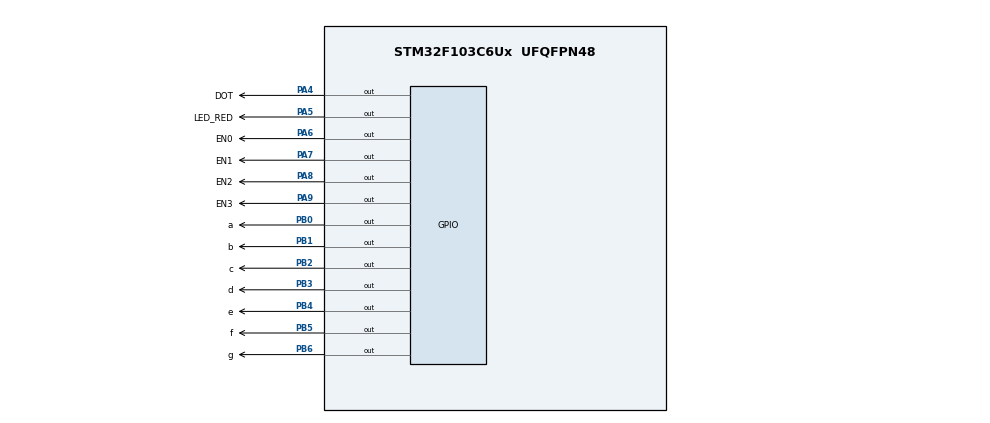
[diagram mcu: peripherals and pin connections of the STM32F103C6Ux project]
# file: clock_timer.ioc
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Mcu.Family=STM32F1
Mcu.Name=STM32F103C6Ux
Mcu.Package=UFQFPN48
NVIC.PriorityGroup=NVIC_PRIORITYGROUP_4
NVIC.TIM2_IRQn=true\:0\:0\:false\:false\:true\:true\:true
PA4.GPIO_Label=DOT
PA4.Signal=GPIO_Output
PA5.GPIO_Label=LED_RED
PA5.Signal=GPIO_Output
PA6.GPIO_Label=EN0
PA6.Signal=GPIO_Output
PA7.GPIO_Label=EN1
PA7.Signal=GPIO_Output
PA8.GPIO_Label=EN2
PA8.Signal=GPIO_Output
PA9.GPIO_Label=EN3
PA9.Signal=GPIO_Output
PB0.GPIO_Label=a
PB0.Signal=GPIO_Output
PB1.GPIO_Label=b
PB1.Signal=GPIO_Output
PB2.GPIO_Label=c
PB2.Signal=GPIO_Output
PB3.GPIO_Label=d
PB3.Signal=GPIO_Output
PB4.GPIO_Label=e
PB4.Signal=GPIO_Output
PB5.GPIO_Label=f
PB5.Signal=GPIO_Output
PB6.GPIO_Label=g
PB6.Signal=GPIO_Output
ProjectManager.HeapSize=0x200
ProjectManager.StackSize=0x400
ProjectManager.TargetToolchain=STM32CubeIDE
RCC.APB1Freq_Value=8000000
RCC.APB2Freq_Value=8000000
TIM2.Period=9
TIM2.Prescaler=7999
VP_SYS_VS_ND.Mode=No_Debug
VP_TIM2_VS_ClockSourceINT.Mode=Internal
board=custom

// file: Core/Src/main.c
/* USER CODE BEGIN Header */
/**
  ******************************************************************************
  * @file           : main.c
  * @brief          : Main program body
  ******************************************************************************
  * @attention
  *
  * <h2><center>&copy; Copyright (c) 2022 STMicroelectronics.
  * All rights reserved.</center></h2>
  *
  * This software component is licensed by ST under BSD 3-Clause license,
  * the "License"; You may not use this file except in compliance with the
  * License. You may obtain a copy of the License at:
  *                        opensource.org/licenses/BSD-3-Clause
  *
  ******************************************************************************
  */
/* USER CODE END Header */
#include "main.h"

TIM_HandleTypeDef htim2;

void SystemClock_Config(void);
static void MX_GPIO_Init(void);
static void MX_TIM2_Init(void);

/* USER CODE BEGIN 0 */
int hour = 23 , minute = 59 , second = 50;
int TIMER_CYCLE = 10;
//Software timer 0
int timer0_counter = 0;
int timer0_flag = 0;

void setTimer0(int duration){
	timer0_counter = duration / TIMER_CYCLE ;
	timer0_flag = 0;
}

void timer_run(){
	if(timer0_counter > 0) {
		timer0_counter--;
		if( timer0_counter == 0) timer0_flag = 1;
	}
}

//Software timer 1
int timer1_counter = 0;
int timer1_flag = 0;

void setTimer1(int duration){
	timer1_counter = duration / TIMER_CYCLE ;
	timer1_flag = 0;
}
void timer_run1(){
	if(timer1_counter > 0) {
		timer1_counter--;
		if( timer1_counter == 0) timer1_flag = 1;
	}
}
/* USER CODE END 0 */

int main(void)
{

  /* MCU Configuration--------------------------------------------------------*/

  /* Reset of all peripherals, Initializes the Flash interface and the Systick. */
  HAL_Init();

  /* Configure the system clock */
  SystemClock_Config();

  /* Initialize all configured peripherals */
  MX_GPIO_Init();
  MX_TIM2_Init();
  /* USER CODE BEGIN 2 */
   HAL_TIM_Base_Start_IT(&htim2);
   void display7segment(int num);
   void update7SEG(int index);
   void updateClockBuffer();
  /* USER CODE END 2 */

  /* Infinite loop */
  /* USER CODE BEGIN WHILE */
  int index_led = 0; //Choose 7SEG to turn on
  setTimer0(1000);
  setTimer1(250);
  while (1)
  {
    /* USER CODE END WHILE */

    /* USER CODE BEGIN 3 */
	  if (timer0_flag == 1){
		  HAL_GPIO_TogglePin(DOT_GPIO_Port, DOT_Pin); //Toggle DOT
		  second++;
		  if (second >= 60){
			  second = 0;
			  minute++;
		   }
		   if(minute >= 60){
			   minute = 0;
			   hour++;
		   }
		   if(hour >= 24){
			   hour = 0;
		   }
		  updateClockBuffer();
		  setTimer0(1000);
	  }
	  if (timer1_flag == 1){ //Turn on index_led-th 7SEG
		  if (index_led >= 4) {
				index_led = 0;
				update7SEG(index_led++);
		  } else {
				update7SEG(index_led++);
			}
		  setTimer1(250);
	  }
  }
  /* USER CODE END 3 */
}

void SystemClock_Config(void)
{
  RCC_OscInitTypeDef RCC_OscInitStruct = {0};
  RCC_ClkInitTypeDef RCC_ClkInitStruct = {0};

  /** Initializes the RCC Oscillators according to the specified parameters
  * in the RCC_OscInitTypeDef structure.
  */
  RCC_OscInitStruct.OscillatorType = RCC_OSCILLATORTYPE_HSI;
  RCC_OscInitStruct.HSIState = RCC_HSI_ON;
  RCC_OscInitStruct.HSICalibrationValue = RCC_HSICALIBRATION_DEFAULT;
  RCC_OscInitStruct.PLL.PLLState = RCC_PLL_NONE;
  if (HAL_RCC_OscConfig(&RCC_OscInitStruct) != HAL_OK)
  {
    Error_Handler();
  }
  /** Initializes the CPU, AHB and APB buses clocks
  */
  RCC_ClkInitStruct.ClockType = RCC_CLOCKTYPE_HCLK|RCC_CLOCKTYPE_SYSCLK
                              |RCC_CLOCKTYPE_PCLK1|RCC_CLOCKTYPE_PCLK2;
  RCC_ClkInitStruct.SYSCLKSource = RCC_SYSCLKSOURCE_HSI;
  RCC_ClkInitStruct.AHBCLKDivider = RCC_SYSCLK_DIV1;
  RCC_ClkInitStruct.APB1CLKDivider = RCC_HCLK_DIV1;
  RCC_ClkInitStruct.APB2CLKDivider = RCC_HCLK_DIV1;

  if (HAL_RCC_ClockConfig(&RCC_ClkInitStruct, FLASH_LATENCY_0) != HAL_OK)
  {
    Error_Handler();
  }
}

static void MX_TIM2_Init(void)
{

  TIM_ClockConfigTypeDef sClockSourceConfig = {0};
  TIM_MasterConfigTypeDef sMasterConfig = {0};

  htim2.Instance = TIM2;
  htim2.Init.Prescaler = 7999;
  htim2.Init.CounterMode = TIM_COUNTERMODE_UP;
  htim2.Init.Period = 9;
  htim2.Init.ClockDivision = TIM_CLOCKDIVISION_DIV1;
  htim2.Init.AutoReloadPreload = TIM_AUTORELOAD_PRELOAD_DISABLE;
  if (HAL_TIM_Base_Init(&htim2) != HAL_OK)
  {
    Error_Handler();
  }
  sClockSourceConfig.ClockSource = TIM_CLOCKSOURCE_INTERNAL;
  if (HAL_TIM_ConfigClockSource(&htim2, &sClockSourceConfig) != HAL_OK)
  {
    Error_Handler();
  }
  sMasterConfig.MasterOutputTrigger = TIM_TRGO_RESET;
  sMasterConfig.MasterSlaveMode = TIM_MASTERSLAVEMODE_DISABLE;
  if (HAL_TIMEx_MasterConfigSynchronization(&htim2, &sMasterConfig) != HAL_OK)
  {
    Error_Handler();
  }

}

static void MX_GPIO_Init(void)
{
  GPIO_InitTypeDef GPIO_InitStruct = {0};

  /* GPIO Ports Clock Enable */
  __HAL_RCC_GPIOA_CLK_ENABLE();
  __HAL_RCC_GPIOB_CLK_ENABLE();

  /*Configure GPIO pin Output Level */
  HAL_GPIO_WritePin(GPIOA, DOT_Pin|LED_RED_Pin|EN0_Pin|EN1_Pin
                          |EN2_Pin|EN3_Pin, GPIO_PIN_RESET);

  /*Configure GPIO pin Output Level */
  HAL_GPIO_WritePin(GPIOB, a_Pin|b_Pin|c_Pin|d_Pin
                          |e_Pin|f_Pin|g_Pin, GPIO_PIN_RESET);

  /*Configure GPIO pins : DOT_Pin LED_RED_Pin EN0_Pin EN1_Pin
                           EN2_Pin EN3_Pin */
  GPIO_InitStruct.Pin = DOT_Pin|LED_RED_Pin|EN0_Pin|EN1_Pin
                          |EN2_Pin|EN3_Pin;
  GPIO_InitStruct.Mode = GPIO_MODE_OUTPUT_PP;
  GPIO_InitStruct.Pull = GPIO_NOPULL;
  GPIO_InitStruct.Speed = GPIO_SPEED_FREQ_LOW;
  HAL_GPIO_Init(GPIOA, &GPIO_InitStruct);

  /*Configure GPIO pins : a_Pin b_Pin c_Pin d_Pin
                           e_Pin f_Pin g_Pin */
  GPIO_InitStruct.Pin = a_Pin|b_Pin|c_Pin|d_Pin
                          |e_Pin|f_Pin|g_Pin;
  GPIO_InitStruct.Mode = GPIO_MODE_OUTPUT_PP;
  GPIO_InitStruct.Pull = GPIO_NOPULL;
  GPIO_InitStruct.Speed = GPIO_SPEED_FREQ_LOW;
  HAL_GPIO_Init(GPIOB, &GPIO_InitStruct);

}

/* USER CODE BEGIN 4 */
int led_buffer[4] = {1,2,3,4};

void display7segment(int num){
	if (num == 0){ /*Implement 0 on 7-segment led*/
		HAL_GPIO_WritePin(a_GPIO_Port, a_Pin, RESET);
		HAL_GPIO_WritePin(b_GPIO_Port, b_Pin, RESET);
		HAL_GPIO_WritePin(c_GPIO_Port, c_Pin, RESET);
		HAL_GPIO_WritePin(d_GPIO_Port, d_Pin, RESET);
		HAL_GPIO_WritePin(e_GPIO_Port, e_Pin, RESET);
		HAL_GPIO_WritePin(f_GPIO_Port, f_Pin, RESET);
		HAL_GPIO_WritePin(g_GPIO_Port, g_Pin, SET);
	}
	if (num == 1){/*Implement 1 on 7-segment led*/
		HAL_GPIO_WritePin(a_GPIO_Port, a_Pin, SET);
		HAL_GPIO_WritePin(b_GPIO_Port, b_Pin, RESET);
		HAL_GPIO_WritePin(c_GPIO_Port, c_Pin, RESET);
		HAL_GPIO_WritePin(d_GPIO_Port, d_Pin, SET);
		HAL_GPIO_WritePin(e_GPIO_Port, e_Pin, SET);
		HAL_GPIO_WritePin(f_GPIO_Port, f_Pin, SET);
		HAL_GPIO_WritePin(g_GPIO_Port, g_Pin, SET);
	}
	if (num == 2){ /*Implement 2 on 7-segment led*/
		HAL_GPIO_WritePin(a_GPIO_Port, a_Pin, RESET);
		HAL_GPIO_WritePin(b_GPIO_Port, b_Pin, RESET);
		HAL_GPIO_WritePin(c_GPIO_Port, c_Pin, SET);
		HAL_GPIO_WritePin(d_GPIO_Port, d_Pin, RESET);
		HAL_GPIO_WritePin(e_GPIO_Port, e_Pin, RESET);
		HAL_GPIO_WritePin(f_GPIO_Port, f_Pin, SET);
		HAL_GPIO_WritePin(g_GPIO_Port, g_Pin, RESET);
	}
	if (num == 3){ /*Implement 3 on 7-segment led*/
		HAL_GPIO_WritePin(a_GPIO_Port, a_Pin, RESET);
		HAL_GPIO_WritePin(b_GPIO_Port, b_Pin, RESET);
		HAL_GPIO_WritePin(c_GPIO_Port, c_Pin, RESET);
		HAL_GPIO_WritePin(d_GPIO_Port, d_Pin, RESET);
		HAL_GPIO_WritePin(e_GPIO_Port, e_Pin, SET);
		HAL_GPIO_WritePin(f_GPIO_Port, f_Pin, SET);
		HAL_GPIO_WritePin(g_GPIO_Port, g_Pin, RESET);
	}
	if (num == 4){ /*Implement 4 on 7-segment led*/
		HAL_GPIO_WritePin(a_GPIO_Port, a_Pin, SET);
		HAL_GPIO_WritePin(b_GPIO_Port, b_Pin, RESET);
		HAL_GPIO_WritePin(c_GPIO_Port, c_Pin, RESET);
		HAL_GPIO_WritePin(d_GPIO_Port, d_Pin, SET);
		HAL_GPIO_WritePin(e_GPIO_Port, e_Pin, SET);
		HAL_GPIO_WritePin(f_GPIO_Port, f_Pin, RESET);
		HAL_GPIO_WritePin(g_GPIO_Port, g_Pin, RESET);
	}
	if (num == 5){ /*Implement 5 on 7-segment led*/
		HAL_GPIO_WritePin(a_GPIO_Port, a_Pin, RESET);
		HAL_GPIO_WritePin(b_GPIO_Port, b_Pin, SET);
		HAL_GPIO_WritePin(c_GPIO_Port, c_Pin, RESET);
		HAL_GPIO_WritePin(d_GPIO_Port, d_Pin, RESET);
		HAL_GPIO_WritePin(e_GPIO_Port, e_Pin, SET);
		HAL_GPIO_WritePin(f_GPIO_Port, f_Pin, RESET);
		HAL_GPIO_WritePin(g_GPIO_Port, g_Pin, RESET);
	}
	if (num == 6){ /*Implement 6 on 7-segment led*/
		HAL_GPIO_WritePin(a_GPIO_Port, a_Pin, RESET);
		HAL_GPIO_WritePin(b_GPIO_Port, b_Pin, SET);
		HAL_GPIO_WritePin(c_GPIO_Port, c_Pin, RESET);
		HAL_GPIO_WritePin(d_GPIO_Port, d_Pin, RESET);
		HAL_GPIO_WritePin(e_GPIO_Port, e_Pin, RESET);
		HAL_GPIO_WritePin(f_GPIO_Port, f_Pin, RESET);
		HAL_GPIO_WritePin(g_GPIO_Port, g_Pin, RESET);
	}
	if (num == 7){ /*Implement 7 on 7-segment led*/
		HAL_GPIO_WritePin(a_GPIO_Port, a_Pin, RESET);
		HAL_GPIO_WritePin(b_GPIO_Port, b_Pin, RESET);
		HAL_GPIO_WritePin(c_GPIO_Port, c_Pin, RESET);
		HAL_GPIO_WritePin(d_GPIO_Port, d_Pin, SET);
		HAL_GPIO_WritePin(e_GPIO_Port, e_Pin, SET);
		HAL_GPIO_WritePin(f_GPIO_Port, f_Pin, SET);
		HAL_GPIO_WritePin(g_GPIO_Port, g_Pin, SET);
	}
	if (num == 8){ /*Implement 8 on 7-segment led*/
		HAL_GPIO_WritePin(a_GPIO_Port, a_Pin, RESET);
		HAL_GPIO_WritePin(b_GPIO_Port, b_Pin, RESET);
		HAL_GPIO_WritePin(c_GPIO_Port, c_Pin, RESET);
		HAL_GPIO_WritePin(d_GPIO_Port, d_Pin, RESET);
		HAL_GPIO_WritePin(e_GPIO_Port, e_Pin, RESET);
		HAL_GPIO_WritePin(f_GPIO_Port, f_Pin, RESET);
		HAL_GPIO_WritePin(g_GPIO_Port, g_Pin, RESET);
	}
	if (num == 9){ /*Implement 9 on 7-segment led*/
		HAL_GPIO_WritePin(a_GPIO_Port, a_Pin, RESET);
		HAL_GPIO_WritePin(b_GPIO_Port, b_Pin, RESET);
		HAL_GPIO_WritePin(c_GPIO_Port, c_Pin, RESET);
		HAL_GPIO_WritePin(d_GPIO_Port, d_Pin, RESET);
		HAL_GPIO_WritePin(e_GPIO_Port, e_Pin, SET);
		HAL_GPIO_WritePin(f_GPIO_Port, f_Pin, RESET);
		HAL_GPIO_WritePin(g_GPIO_Port, g_Pin, RESET);
	}
}

void update7SEG(int index){
 switch (index){
 	 case 0:
 		 // Display the first 7 SEG with led_buffer [0]
 		HAL_GPIO_WritePin(EN0_GPIO_Port, EN0_Pin, RESET);
 		HAL_GPIO_WritePin(EN1_GPIO_Port, EN1_Pin, SET);
 		HAL_GPIO_WritePin(EN2_GPIO_Port, EN2_Pin, SET);
 		HAL_GPIO_WritePin(EN3_GPIO_Port, EN3_Pin, SET);
 		display7segment(led_buffer[0]);
 		 break;
 	 case 1:
 		 // Display the second 7 SEG with led_buffer [1]
 		HAL_GPIO_WritePin(EN0_GPIO_Port, EN0_Pin, SET);
 		HAL_GPIO_WritePin(EN1_GPIO_Port, EN1_Pin, RESET);
		HAL_GPIO_WritePin(EN2_GPIO_Port, EN2_Pin, SET);
 		HAL_GPIO_WritePin(EN3_GPIO_Port, EN3_Pin, SET);
 		display7segment(led_buffer[1]);
 		 break;
 	 case 2:
 		 // Display the third 7 SEG with led_buffer [2]
 		HAL_GPIO_WritePin(EN0_GPIO_Port, EN0_Pin, SET);
 		HAL_GPIO_WritePin(EN1_GPIO_Port, EN1_Pin, SET);
 		HAL_GPIO_WritePin(EN2_GPIO_Port, EN2_Pin, RESET);
		HAL_GPIO_WritePin(EN3_GPIO_Port, EN3_Pin, SET);
 		display7segment(led_buffer[2]);
 		 break;
 	 case 3:
 		 // Display the forth 7 SEG with led_buffer [3]
 		HAL_GPIO_WritePin(EN0_GPIO_Port, EN0_Pin, SET);
 		HAL_GPIO_WritePin(EN1_GPIO_Port, EN1_Pin, SET);
 		HAL_GPIO_WritePin(EN2_GPIO_Port, EN2_Pin, SET);
 		HAL_GPIO_WritePin(EN3_GPIO_Port, EN3_Pin, RESET);
 		display7segment(led_buffer[3]);
 		 break;
 	 default:
 		 break;
 }
}

void updateClockBuffer(){
	if (hour < 10){
		led_buffer[0] = 0;
		led_buffer[1] = hour;
	} else {
		led_buffer[0] = hour / 10;
		led_buffer[1] = hour % 10;
	}
	if (minute < 10){
		led_buffer[2] = 0;
		led_buffer[3] = minute;
	} else {
		led_buffer[2] = minute / 10;
		led_buffer[3] = minute % 10;
	}
}
void HAL_TIM_PeriodElapsedCallback(TIM_HandleTypeDef*htim){
	timer_run();
	timer_run1();
}
/* USER CODE END 4 */

void Error_Handler(void)
{
  __disable_irq();
  while (1)
  {
  }
}

/************************ (C) COPYRIGHT STMicroelectronics *****END OF FILE****/
